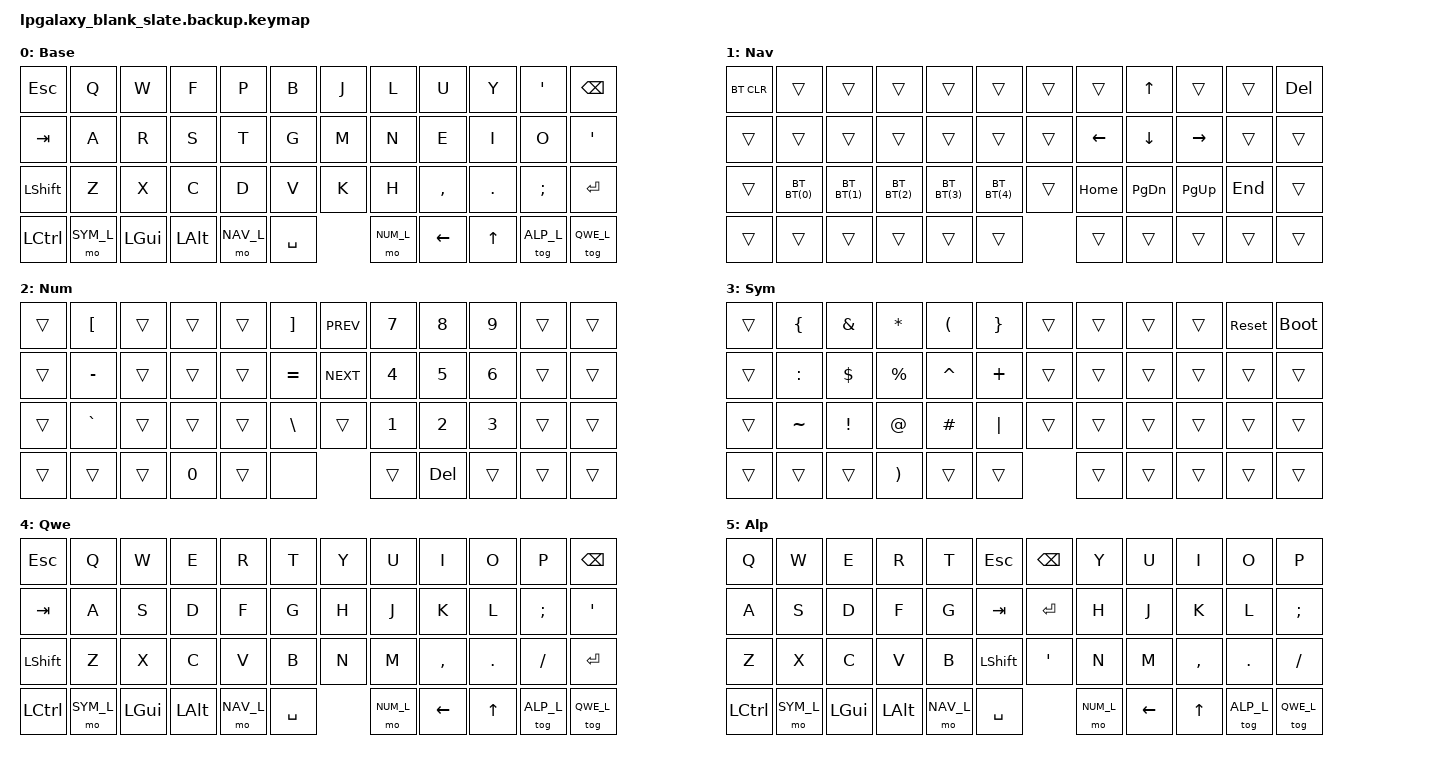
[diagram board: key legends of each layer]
/*
 * Copyright (c) 2022 Pete Johanson
 *
 * SPDX-License-Identifier: MIT
 */

#include <behaviors.dtsi>
#include <dt-bindings/zmk/keys.h>
#include <dt-bindings/zmk/bt.h>
#include <dt-bindings/zmk/outputs.h>

#define QWERTY_BASE 1

// #define TBLE_ORTHO   1
#define TBLE_MIT     1
// #define TBLE_DUAL_2U 1

#define NAV_L 1
#define NUM_L 2
#define SYM_L 3
#define QWE_L 4
#define ALP_L 5

// Using layer taps on thumbs, having quick tap as well helps w/ repeating space/backspace
&lt { quick_tap_ms = <200>; };

#define BT(n) BT_SEL n

/ {
	chosen {
		zmk,matrix_transform =
#ifdef TBLE_DUAL_2U
			&dual_2u_transform;
#elif defined(TBLE_MIT)
		&mit_transform;
#else
		&ortho_transform;
#endif
	};

	macros {
		ZMK_MACRO(thumbs_up,
				wait-ms = <1>;
				tap-ms = <5>;
				bindings = <&kp PLUS &kp COLON &kp PLUS &kp N1 &kp COLON &kp RET>;
				)
	};


	 combos {
        compatible = "zmk,combos";
        combo_esc {
            timeout-ms = <50>;
            key-positions = <0 1>;
            bindings = <&kp ESC>;
        };
    };

	tap_dances {
shifty: shift_caps_word {
			compatible = "zmk,behavior-tap-dance";
			label = "TD_SHIFTY";
#binding-cells = <0>;
			tapping-term-ms = <150>;
			bindings = <&kp LSHFT>, <&caps_word>;
		};
	};

	keymap {
		compatible = "zmk,keymap";

		base_layer {
			label = "Base";
			bindings = <
				&kp ESC    &kp Q      &kp W      &kp F       &kp P          &kp B          &kp J            &kp L          &kp U       &kp Y      &kp QUOT      &kp BKSP
				&kp TAB    &kp A      &kp R      &kp S       &kp T          &kp G          &kp M            &kp N          &kp E       &kp I      &kp O         &kp QUOT
				&kp LSHFT  &kp Z      &kp X      &kp C       &kp D          &kp V          &kp K            &kp H          &kp COMMA   &kp DOT    &kp SEMI      &kp RET
				&kp LCTRL  &mo SYM_L   &kp LGUI  &kp LALT    &mo NAV_L            &kp SPACE                 &mo NUM_L      &kp LEFT    &kp UP     &tog ALP_L     &tog QWE_L
				>;
		};

		nav_layer {
			label = "Nav";
			bindings = <
				&bt BT_CLR &trans     &trans     &trans      &trans          &trans       &trans     &trans         &kp UP         &trans     &trans     &kp DEL
				&trans     &trans     &trans     &trans      &trans          &trans       &trans     &kp LEFT       &kp DOWN    &kp RIGHT  &trans     &trans
				&trans     &bt BT(0)  &bt BT(1)  &bt BT(2)   &bt BT(3)       &bt BT(4)    &trans     &kp HOME       &kp PG_DN   &kp PG_UP  &kp END    &trans
				&trans     &trans     &trans     &trans      &trans                  &trans          &trans         &trans      &trans     &trans     &trans
				>;
		};

		num_layer {
			label = "Num";
			bindings = <
				&trans     &kp LBKT   &trans &trans &trans    &kp RBKT    &kp C_PREV    &kp N7     &kp N8      &kp N9       &trans     &trans
				&trans     &kp MINUS  &trans &trans &trans    &kp EQUAL   &kp C_NEXT    &kp N4     &kp N5      &kp N6       &trans     &trans
				&trans     &kp GRAVE  &trans &trans &trans    &kp BSLH    &trans        &kp N1     &kp N2      &kp N3       &trans     &trans
				&trans     &trans     &trans &kp N0 &trans           &none              &trans     &kp DEL     &trans       &trans     &trans
				>;
		};

		sym_layer {
			label = "Sym";
			bindings = <
				&trans     &kp LBRC   &kp AMPS   &kp STAR    &kp LPAR     &kp RBRC     &trans     &trans    &trans       &trans       &sys_reset     &bootloader
				&trans     &kp COLON  &kp DLLR   &kp PRCNT   &kp CARET    &kp PLUS     &trans     &trans    &trans       &trans       &trans     &trans
				&trans     &kp TILDE  &kp EXCL   &kp AT      &kp HASH     &kp PIPE     &trans     &trans    &trans       &trans       &trans     &trans
				&trans &trans        &trans     &kp RPAR        &trans                &trans             &trans      &trans   &trans &trans &trans
				>;
		};

		qwe_layer {
			label = "Qwe";
			bindings = <
				&kp ESC    &kp Q      &kp W      &kp E       &kp R          &kp T          &kp Y            &kp U          &kp I       &kp O      &kp P         &kp BKSP
				&kp TAB    &kp A      &kp S      &kp D       &kp F          &kp G          &kp H            &kp J          &kp K       &kp L      &kp SEMI      &kp QUOT
				&kp LSHFT  &kp Z      &kp X      &kp C       &kp V          &kp B          &kp N            &kp M          &kp COMMA   &kp DOT    &kp FSLH      &kp RET
				&kp LCTRL  &mo SYM_L   &kp LGUI  &kp LALT    &mo NAV_L            &kp SPACE                 &mo NUM_L      &kp LEFT    &kp UP     &tog ALP_L      &tog QWE_L
				>;
		};

		alp_layer {
			label = "Alp";
			bindings = <
				&kp Q     &kp W     &kp E    &kp R    &kp T     &kp ESC   &kp BKSP  &kp Y     &kp U  &kp I     &kp  O   &kp P
				&kp A     &kp S     &kp D    &kp F    &kp G     &kp TAB   &kp RET   &kp H     &kp J  &kp K     &kp  L   &kp SEMI
				&kp Z     &kp X     &kp C    &kp V    &kp B     &kp LSHFT &kp QUOT  &kp N     &kp M  &kp COMMA &kp  DOT &kp FSLH
				&kp LCTRL &mo SYM_L &kp LGUI &kp LALT &mo NAV_L      &kp SPACE      &mo NUM_L &kp LEFT &kp UP &tog ALP_L &tog QWE_L
				>;
		};
	};
};

